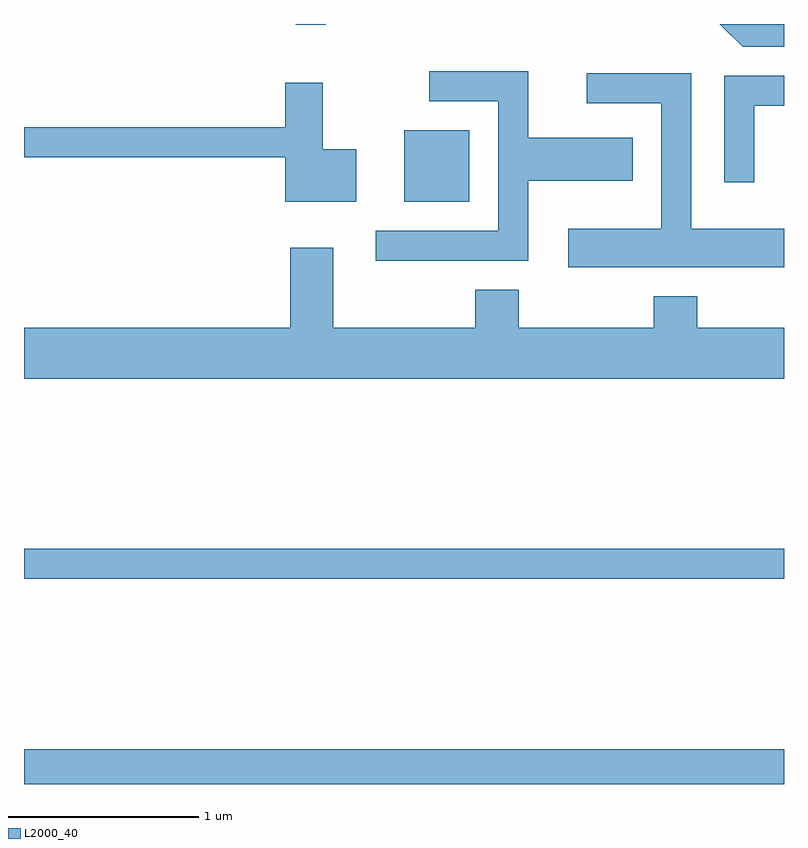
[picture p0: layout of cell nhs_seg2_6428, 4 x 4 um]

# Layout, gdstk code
import gdstk
lib = gdstk.Library(unit=1e-6, precision=1e-09)
def R(c, l, rs):  # rectangles x0, y0, x1, y1
    for r in rs: c.add(gdstk.rectangle(r[:2], r[2:], *l))
def P(c, l, *ps):  # polygons
    for p in ps: c.add(gdstk.Polygon(p, *l))
L2000_40 = (2000, 40)

nhs_seg2_6428 = lib.new_cell('nhs_seg2_6428')
R(nhs_seg2_6428, L2000_40, [(375.611,981.802,379.611,981.984), (375.611,982.881,379.611,983.039), (377.611,984.866,377.954,985.244), (377.041,985.798,377.199,985.802)])
P(nhs_seg2_6428, L2000_40, [(379.611,985.802),(379.273,985.802),(379.394,985.681),(379.611,985.681)],
  [(378.264,984.976),(378.814,984.976),(378.814,985.204),(378.264,985.204),(378.264,985.554),(377.743,985.554),(377.743,985.396),(378.106,985.396),(378.106,984.714),(377.463,984.714),(377.463,984.556),(378.264,984.556)],
  [(379.611,984.724),(379.124,984.724),(379.124,985.544),(378.573,985.544),(378.573,985.386),(378.966,985.386),(378.966,984.724),(378.476,984.724),(378.476,984.521),(379.611,984.521)],
  [(379.454,985.371),(379.611,985.371),(379.611,985.529),(379.296,985.529),(379.296,984.968),(379.454,984.968)],
  [(377.359,985.144),(377.184,985.144),(377.184,985.494),(376.986,985.494),(376.986,985.259),(375.611,985.259),(375.611,985.101),(376.986,985.101),(376.986,984.866),(377.359,984.866)],
  [(379.611,984.204),(379.154,984.204),(379.154,984.369),(378.926,984.369),(378.926,984.204),(378.214,984.204),(378.214,984.404),(377.986,984.404),(377.986,984.204),(377.239,984.204),(377.239,984.624),(377.011,984.624),(377.011,984.204),(375.611,984.204),(375.611,983.936),(379.611,983.936)])

lib.write_gds('nhs_seg2_6428.gds')
